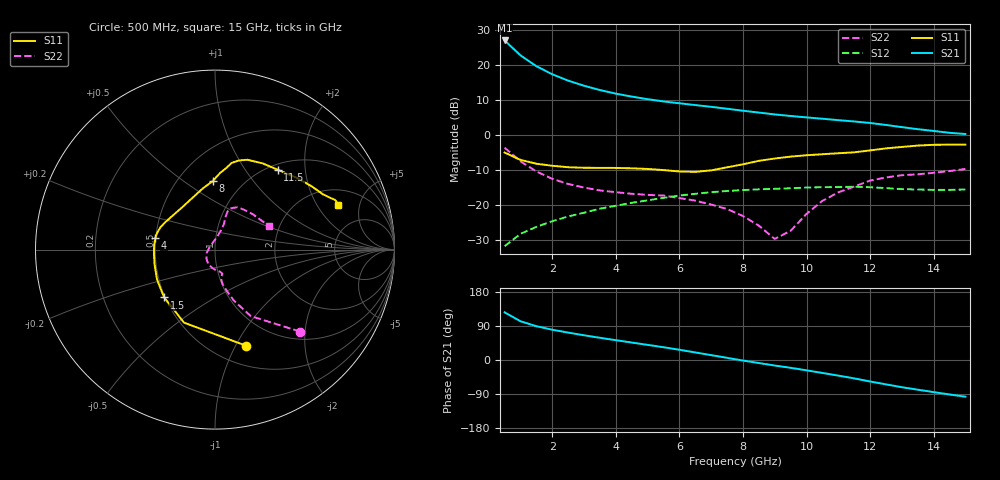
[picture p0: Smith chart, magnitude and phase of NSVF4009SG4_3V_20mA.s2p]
! onsemi NSVF4009SG4, common emitter, VCE = 3 V, IC = 20 mA: S-parameters from the data sheet NSVF4009SG4/D
! (Rev. 1, March 2024), values as printed there (500 MHz to 15 GHz)
# MHz S MA R 50
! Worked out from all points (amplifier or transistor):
!   30 points, 500 MHz to 15 GHz, reference 50 ohm
!   highest |S21| = 27.0 dB at 500 MHz (marker M1)
!   |S21| within 3 dB of that: start of sweep to 852.9 MHz
!   unconditionally stable (mu >= 1): 1.705 GHz to end of sweep
!   at 3 GHz: K = 1.23, MAG = 15.2 dB, |S12| = -22.2 dB
!   at 8 GHz: K = 1.33, MAG = 7.9 dB, |S12| = -15.7 dB
!   at 15 GHz: K = 1.51, MAG = 3.7 dB, |S12| = -15.5 dB
!   S11 on the Smith chart (normalised r, x): 500 MHz: 0.70, -1.10; 1.5 GHz: 0.49, -0.31; 4 GHz: 0.50, +0.07; 8 GHz: 0.73, +0.65; 11.5 GHz: 1.10, +1.43; 15 GHz: 2.92, +3.10
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500  0.562 -72.2  22.27 125.7  0.026 62.0  0.659 -43.9
1000  0.442 -113.0  13.65 102.2  0.039 56.1  0.421 -61.7
1500  0.389 -136.8  9.56 89.2  0.049 54.2  0.302 -69.8
2000  0.364 -152.5  7.334 79.9  0.059 52.9  0.237 -74.2
2500  0.347 -165.9  5.959 72.3  0.069 52.3  0.2 -77.4
3000  0.341 -176.1  5.031 65.2  0.078 50.2  0.178 -78.2
3500  0.34 175.8  4.372 58.6  0.089 48.3  0.162 -77.7
4000  0.339 169.1  3.886 52.3  0.098 46.2  0.153 -76.0
4500  0.335 163.4  3.524 46.1  0.108 43.5  0.145 -74.3
5500  0.316 150.9  3.007 33.7  0.127 36.6  0.137 -73.7
6500  0.298 128.4  2.67 20.0  0.145 27.8  0.116 -86.6
7000  0.313 114.4  2.52 12.8  0.153 23.1  0.102 -99.7
8000  0.382 91.9  2.218 -1.4  0.164 13.3  0.07 -132.1
9000  0.462 81.8  1.964 -14.6  0.171 3.9  0.033 156.9
9500  0.492 79.1  1.867 -20.6  0.174 -0.6  0.043 102.7
10000  0.514 75.0  1.781 -27.3  0.178 -6.1  0.075 79.7
10500  0.532 70.2  1.705 -34.1  0.18 -11.2  0.115 72.5
11500  0.566 51.8  1.559 -48.5  0.183 -23.7  0.184 72.3
12000  0.603 41.9  1.484 -56.7  0.18 -30.6  0.224 71.7
13000  0.675 27.2  1.295 -71.8  0.169 -41.8  0.267 62.1
14000  0.724 22.5  1.142 -84.7  0.165 -52.1  0.289 42.7
15000  0.73 19.9  1.032 -96.8  0.167 -62.9  0.328 24.1
